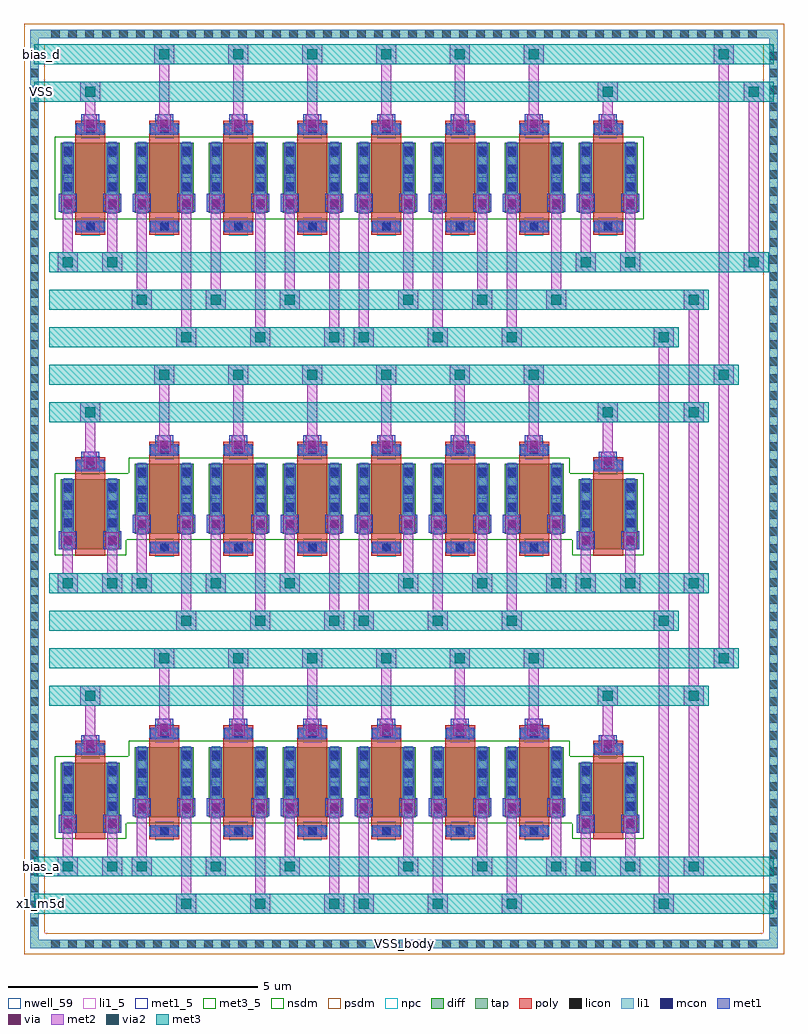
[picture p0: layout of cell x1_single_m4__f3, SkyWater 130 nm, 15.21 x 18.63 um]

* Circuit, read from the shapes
.subckt x1_single_m4__f3 VSS VSS_body bias_a bias_d x1_m5d
XM1 bias_a bias_a bias_a VSS_body sky130_fd_pr__nfet_01v8 w=1.4 l=0.6 m=4
XM2 VSS VSS VSS VSS_body sky130_fd_pr__nfet_01v8 w=1.4 l=0.6 m=2
XM3 x1_m5d bias_d bias_a VSS_body sky130_fd_pr__nfet_01v8 w=1.4 l=0.6 m=18
.ends

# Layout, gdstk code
from math import pi, radians
import gdstk
lib = gdstk.Library(unit=1e-6, precision=1e-09)
def R(c, l, rs):  # rectangles x0, y0, x1, y1
    for r in rs: c.add(gdstk.rectangle(r[:2], r[2:], *l))
def A(c, l, x, y, w, h, nx, ny, dx, dy):  # array of equal rectangles
    R(c, l, [(x+i*dx, y+j*dy, x+i*dx+w, y+j*dy+h) for i in range(nx) for j in range(ny)])
nwell_59 = (64, 59)
diff = (65, 20)
tap = (65, 44)
poly = (66, 20)
licon = (66, 44)
li1_5 = (67, 5)
li1 = (67, 20)
mcon = (67, 44)
met1_5 = (68, 5)
met1 = (68, 20)
via = (68, 44)
met2 = (69, 20)
via2 = (69, 44)
met3_5 = (70, 5)
met3 = (70, 20)
nsdm = (93, 44)
psdm = (94, 20)
npc = (95, 20)

sky130_fd_pr__nfet_01v8_ = lib.new_cell('sky130_fd_pr__nfet_01v8_KCM6UP')
R(sky130_fd_pr__nfet_01v8_, diff, [(-0.59,-0.7,0.59,0.7)])
R(sky130_fd_pr__nfet_01v8_, poly, [(-0.3,-1.14,0.3,1.14)])
A(sky130_fd_pr__nfet_01v8_, licon, -0.53, -0.595, 0.17, 0.17, 1, 4, 0, 0.34)
A(sky130_fd_pr__nfet_01v8_, licon, 0.36, -0.595, 0.17, 0.17, 1, 4, 0, 0.34)
R(sky130_fd_pr__nfet_01v8_, licon, [(-0.085,-1.06,0.085,-0.89), (-0.085,0.89,0.085,1.06)])
R(sky130_fd_pr__nfet_01v8_, li1, [(-0.3,-1.06,0.3,-0.89), (-0.53,-0.72,-0.36,0.72), (0.36,-0.72,0.53,0.72), (-0.3,0.89,0.3,1.06)])
A(sky130_fd_pr__nfet_01v8_, mcon, -0.53, -0.625, 0.17, 0.17, 1, 4, 0, 0.36)
A(sky130_fd_pr__nfet_01v8_, mcon, 0.36, -0.625, 0.17, 0.17, 1, 4, 0, 0.36)
R(sky130_fd_pr__nfet_01v8_, mcon, [(-0.085,-1.06,0.085,-0.89), (-0.085,0.89,0.085,1.06)])
R(sky130_fd_pr__nfet_01v8_, met1, [(-0.28,-1.09,0.28,-0.86), (-0.56,-0.7,-0.33,0.7), (0.33,-0.7,0.56,0.7), (-0.28,0.86,0.28,1.09)])
R(sky130_fd_pr__nfet_01v8_, nsdm, [(-0.715,-0.825,0.715,0.825)])
R(sky130_fd_pr__nfet_01v8_, npc, [(-0.185,-1.16,0.185,-0.79), (-0.185,0.79,0.185,1.16)])
sky130_fd_pr__nfet_01v8_.add(gdstk.Label('D', (-0.445,0), layer=67, texttype=5))
sky130_fd_pr__nfet_01v8_.add(gdstk.Label('S', (0.445,0), layer=67, texttype=5))
sky130_fd_pr__nfet_01v8_.add(gdstk.Label('G', (0,0.975), layer=67, texttype=5))

nfet_01v8_w1p4_l0p6_m18_ = lib.new_cell('nfet_01v8_W1p4_L0p6_m18__nf1_gboth_sdfull_ng')
R(nfet_01v8_w1p4_l0p6_m18_, nwell_59, [(0.05,1.09,0.15,1.19)])
R(nfet_01v8_w1p4_l0p6_m18_, met1_5, [(0.03,1.14,0.26,1.34), (0.92,1.14,1.15,1.34), (0.31,2,0.87,2.23)])
R(nfet_01v8_w1p4_l0p6_m18_, met1, [(0.03,1.14,0.26,1.34), (0.92,1.14,1.15,1.34), (0.31,2,0.87,2.23)])
nfet_01v8_w1p4_l0p6_m18_.add(gdstk.Reference(sky130_fd_pr__nfet_01v8_, (0.59,1.14)))
nfet_01v8_w1p4_l0p6_m18_.add(gdstk.Label('D', (0.145,1.24), layer=68, texttype=5))
nfet_01v8_w1p4_l0p6_m18_.add(gdstk.Label('S', (1.035,1.24), layer=68, texttype=5))
nfet_01v8_w1p4_l0p6_m18_.add(gdstk.Label('G', (0.59,2.115), layer=68, texttype=5))
nfet_01v8_w1p4_l0p6_m18_.add(gdstk.Label('B', (0.1,1.14), layer=64, texttype=59))

c_sky130_fd_pr__nfet_01v8_ = lib.new_cell('sky130_fd_pr__nfet_01v8_RUA5M6')
R(c_sky130_fd_pr__nfet_01v8_, diff, [(-0.59,-0.855,0.59,0.545)])
R(c_sky130_fd_pr__nfet_01v8_, poly, [(-0.3,-0.985,0.3,0.985)])
A(c_sky130_fd_pr__nfet_01v8_, licon, -0.53, -0.75, 0.17, 0.17, 1, 4, 0, 0.34)
A(c_sky130_fd_pr__nfet_01v8_, licon, 0.36, -0.75, 0.17, 0.17, 1, 4, 0, 0.34)
R(c_sky130_fd_pr__nfet_01v8_, licon, [(-0.085,0.735,0.085,0.905)])
R(c_sky130_fd_pr__nfet_01v8_, li1, [(-0.53,-0.875,-0.36,0.565), (0.36,-0.875,0.53,0.565), (-0.3,0.735,0.3,0.905)])
A(c_sky130_fd_pr__nfet_01v8_, mcon, -0.53, -0.78, 0.17, 0.17, 1, 4, 0, 0.36)
A(c_sky130_fd_pr__nfet_01v8_, mcon, 0.36, -0.78, 0.17, 0.17, 1, 4, 0, 0.36)
R(c_sky130_fd_pr__nfet_01v8_, mcon, [(-0.085,0.735,0.085,0.905)])
R(c_sky130_fd_pr__nfet_01v8_, met1, [(-0.56,-0.855,-0.33,0.545), (0.33,-0.855,0.56,0.545), (-0.28,0.705,0.28,0.935)])
R(c_sky130_fd_pr__nfet_01v8_, nsdm, [(-0.715,-0.98,0.715,0.67)])
R(c_sky130_fd_pr__nfet_01v8_, npc, [(-0.185,0.635,0.185,1.005)])
c_sky130_fd_pr__nfet_01v8_.add(gdstk.Label('D', (-0.445,-0.155), layer=67, texttype=5))
c_sky130_fd_pr__nfet_01v8_.add(gdstk.Label('S', (0.445,-0.155), layer=67, texttype=5))
c_sky130_fd_pr__nfet_01v8_.add(gdstk.Label('G', (0,0.82), layer=67, texttype=5))

nfet_01v8_w1p4_l0p6_m4__ = lib.new_cell('nfet_01v8_W1p4_L0p6_m4__nf1_gtop_sdfull_ng')
R(nfet_01v8_w1p4_l0p6_m4__, nwell_59, [(0.05,0.78,0.15,0.88)])
R(nfet_01v8_w1p4_l0p6_m4__, met1_5, [(0.03,0.83,0.26,1.03), (0.92,0.83,1.15,1.03), (0.31,1.69,0.87,1.92)])
R(nfet_01v8_w1p4_l0p6_m4__, met1, [(0.03,0.83,0.26,1.03), (0.92,0.83,1.15,1.03), (0.31,1.69,0.87,1.92)])
nfet_01v8_w1p4_l0p6_m4__.add(gdstk.Reference(c_sky130_fd_pr__nfet_01v8_, (0.59,0.985)))
nfet_01v8_w1p4_l0p6_m4__.add(gdstk.Label('D', (0.145,0.93), layer=68, texttype=5))
nfet_01v8_w1p4_l0p6_m4__.add(gdstk.Label('S', (1.035,0.93), layer=68, texttype=5))
nfet_01v8_w1p4_l0p6_m4__.add(gdstk.Label('G', (0.59,1.805), layer=68, texttype=5))
nfet_01v8_w1p4_l0p6_m4__.add(gdstk.Label('B', (0.1,0.83), layer=64, texttype=59))

x1_single_m4__f3 = lib.new_cell('x1_single_m4__f3')
R(x1_single_m4__f3, tap, [(-0.485,-2.185,14.475,-2.015), (-0.485,-2.015,-0.315,16.025), (14.305,-2.015,14.475,16.025), (-0.485,16.025,14.475,16.195)])
A(x1_single_m4__f3, licon, -0.06, -2.185, 0.17, 0.17, 42, 2, 0.34, 18.21)
A(x1_single_m4__f3, licon, -0.485, -1.75, 0.17, 0.17, 1, 52, 0, 0.34)
A(x1_single_m4__f3, licon, 14.305, -1.75, 0.17, 0.17, 1, 52, 0, 0.34)
R(x1_single_m4__f3, li1_5, [(6.945,-2.15,7.045,-2.05)])
R(x1_single_m4__f3, li1, [(-0.485,-2.185,14.475,-2.015), (-0.485,-2.015,-0.315,16.025), (14.305,-2.015,14.475,16.025), (-0.485,16.025,14.475,16.195)])
A(x1_single_m4__f3, met1, 2.015, 2.05, 0.36, 0.36, 6, 2, 1.48, 5.67)
A(x1_single_m4__f3, met1, 0.535, 14.14, 0.36, 0.36, 8, 1, 1.48, 0)
R(x1_single_m4__f3, met1, [(0.09,0.13,0.45,0.49), (0.98,0.13,1.34,0.49), (10.45,0.13,10.81,0.49), (11.34,0.13,11.7,0.49), (1.57,0.46,1.93,0.82), (2.46,0.46,2.82,0.82), (3.05,0.46,3.41,0.82), (3.94,0.46,4.3,0.82), (4.53,0.46,4.89,0.82), (5.42,0.46,5.78,0.82), (6.01,0.46,6.37,0.82), (6.9,0.46,7.26,0.82), (7.49,0.46,7.85,0.82), (8.38,0.46,8.74,0.82), (8.97,0.46,9.33,0.82), (9.86,0.46,10.22,0.82), (0.535,1.72,0.895,2.08), (10.895,1.72,11.255,2.08), (0.09,5.8,0.45,6.16), (0.98,5.8,1.34,6.16), (10.45,5.8,10.81,6.16), (11.34,5.8,11.7,6.16), (1.57,6.13,1.93,6.49), (2.46,6.13,2.82,6.49), (3.05,6.13,3.41,6.49), (3.94,6.13,4.3,6.49), (4.53,6.13,4.89,6.49), (5.42,6.13,5.78,6.49), (6.01,6.13,6.37,6.49), (6.9,6.13,7.26,6.49), (7.49,6.13,7.85,6.49), (8.38,6.13,8.74,6.49), (8.97,6.13,9.33,6.49), (9.86,6.13,10.22,6.49), (0.535,7.39,0.895,7.75), (10.895,7.39,11.255,7.75), (0.09,12.55,0.45,12.91), (0.98,12.55,1.34,12.91), (1.57,12.55,1.93,12.91), (2.46,12.55,2.82,12.91), (3.05,12.55,3.41,12.91), (3.94,12.55,4.3,12.91), (4.53,12.55,4.89,12.91), (5.42,12.55,5.78,12.91), (6.01,12.55,6.37,12.91), (6.9,12.55,7.26,12.91), (7.49,12.55,7.85,12.91), (8.38,12.55,8.74,12.91), (8.97,12.55,9.33,12.91), (9.86,12.55,10.22,12.91), (10.45,12.55,10.81,12.91), (11.34,12.55,11.7,12.91)])
A(x1_single_m4__f3, via, 2.12, 2.155, 0.15, 0.15, 6, 2, 1.48, 5.67)
A(x1_single_m4__f3, via, 0.64, 14.245, 0.15, 0.15, 8, 1, 1.48, 0)
R(x1_single_m4__f3, via, [(0.195,0.235,0.345,0.385), (1.085,0.235,1.235,0.385), (10.555,0.235,10.705,0.385), (11.445,0.235,11.595,0.385), (1.675,0.565,1.825,0.715), (2.565,0.565,2.715,0.715), (3.155,0.565,3.305,0.715), (4.045,0.565,4.195,0.715), (4.635,0.565,4.785,0.715), (5.525,0.565,5.675,0.715), (6.115,0.565,6.265,0.715), (7.005,0.565,7.155,0.715), (7.595,0.565,7.745,0.715), (8.485,0.565,8.635,0.715), (9.075,0.565,9.225,0.715), (9.965,0.565,10.115,0.715), (0.64,1.825,0.79,1.975), (11,1.825,11.15,1.975), (0.195,5.905,0.345,6.055), (1.085,5.905,1.235,6.055), (10.555,5.905,10.705,6.055), (11.445,5.905,11.595,6.055), (1.675,6.235,1.825,6.385), (2.565,6.235,2.715,6.385), (3.155,6.235,3.305,6.385), (4.045,6.235,4.195,6.385), (4.635,6.235,4.785,6.385), (5.525,6.235,5.675,6.385), (6.115,6.235,6.265,6.385), (7.005,6.235,7.155,6.385), (7.595,6.235,7.745,6.385), (8.485,6.235,8.635,6.385), (9.075,6.235,9.225,6.385), (9.965,6.235,10.115,6.385), (0.64,7.495,0.79,7.645), (11,7.495,11.15,7.645), (0.195,12.655,0.345,12.805), (1.085,12.655,1.235,12.805), (1.675,12.655,1.825,12.805), (2.565,12.655,2.715,12.805), (3.155,12.655,3.305,12.805), (4.045,12.655,4.195,12.805), (4.635,12.655,4.785,12.805), (5.525,12.655,5.675,12.805), (6.115,12.655,6.265,12.805), (7.005,12.655,7.155,12.805), (7.595,12.655,7.745,12.805), (8.485,12.655,8.635,12.805), (9.075,12.655,9.225,12.805), (9.965,12.655,10.115,12.805), (10.555,12.655,10.705,12.805), (11.445,12.655,11.595,12.805)])
A(x1_single_m4__f3, met2, 2.44, -1.5, 0.4, 0.4, 3, 3, 1.48, 5.67)
A(x1_single_m4__f3, met2, 5.99, -1.5, 0.4, 0.4, 3, 3, 1.48, 5.67)
A(x1_single_m4__f3, met2, 11.99, -1.5, 0.4, 0.4, 1, 3, 0, 5.67)
A(x1_single_m4__f3, met2, 2.54, -1.1, 0.2, 1.58, 3, 2, 1.48, 5.67)
A(x1_single_m4__f3, met2, 6.09, -1.1, 0.2, 1.58, 3, 2, 1.48, 5.67)
A(x1_single_m4__f3, met2, 1.55, -0.75, 0.4, 0.4, 3, 3, 1.48, 5.67)
A(x1_single_m4__f3, met2, 6.88, -0.75, 0.4, 0.4, 3, 3, 1.48, 5.67)
A(x1_single_m4__f3, met2, 1.65, -0.35, 0.2, 0.83, 3, 2, 1.48, 5.67)
A(x1_single_m4__f3, met2, 6.98, -0.35, 0.2, 0.83, 3, 2, 1.48, 5.67)
A(x1_single_m4__f3, met2, 2.065, 2.07, 0.26, 0.32, 6, 2, 1.48, 5.67)
A(x1_single_m4__f3, met2, 2.095, 2.39, 0.2, 1.03, 6, 2, 1.48, 5.67)
A(x1_single_m4__f3, met2, 1.995, 3.42, 0.4, 0.4, 6, 2, 1.48, 5.67)
A(x1_single_m4__f3, met2, 2.54, 10.24, 0.2, 2.33, 3, 1, 1.48, 0)
A(x1_single_m4__f3, met2, 6.09, 10.24, 0.2, 2.33, 3, 1, 1.48, 0)
A(x1_single_m4__f3, met2, 1.65, 10.99, 0.2, 1.58, 3, 1, 1.48, 0)
A(x1_single_m4__f3, met2, 6.98, 10.99, 0.2, 1.58, 3, 1, 1.48, 0)
A(x1_single_m4__f3, met2, 0.585, 14.16, 0.26, 0.32, 8, 1, 1.48, 0)
A(x1_single_m4__f3, met2, 2.095, 14.48, 0.2, 1.03, 6, 1, 1.48, 0)
A(x1_single_m4__f3, met2, 1.995, 15.51, 0.4, 0.4, 6, 1, 1.48, 0)
R(x1_single_m4__f3, met2, [(12.09,-1.1,12.29,4.17), (0.07,-0.75,0.47,-0.35), (0.96,-0.75,1.36,-0.35), (10.43,-0.75,10.83,-0.35), (11.32,-0.75,11.72,-0.35), (12.59,-0.75,12.99,-0.35), (0.17,-0.35,0.37,0.15), (1.06,-0.35,1.26,0.15), (10.53,-0.35,10.73,0.15), (11.42,-0.35,11.62,0.15), (12.69,-0.35,12.89,2.67), (0.14,0.15,0.4,0.47), (1.03,0.15,1.29,0.47), (10.5,0.15,10.76,0.47), (11.39,0.15,11.65,0.47), (1.62,0.48,1.88,0.8), (2.51,0.48,2.77,0.8), (3.1,0.48,3.36,0.8), (3.99,0.48,4.25,0.8), (4.58,0.48,4.84,0.8), (5.47,0.48,5.73,0.8), (6.06,0.48,6.32,0.8), (6.95,0.48,7.21,0.8), (7.54,0.48,7.8,0.8), (8.43,0.48,8.69,0.8), (9.02,0.48,9.28,0.8), (9.91,0.48,10.17,0.8), (0.585,1.74,0.845,2.06), (10.945,1.74,11.205,2.06), (0.615,2.06,0.815,2.67), (10.975,2.06,11.175,2.67), (0.515,2.67,0.915,3.07), (10.875,2.67,11.275,3.07), (12.59,2.67,12.99,3.07), (12.69,3.07,12.89,4.92), (13.19,3.42,13.59,3.82), (13.29,3.82,13.49,9.09), (12.09,4.57,12.29,9.84), (0.07,4.92,0.47,5.32), (0.96,4.92,1.36,5.32), (10.43,4.92,10.83,5.32), (11.32,4.92,11.72,5.32), (12.59,4.92,12.99,5.32), (0.17,5.32,0.37,5.82), (1.06,5.32,1.26,5.82), (10.53,5.32,10.73,5.82), (11.42,5.32,11.62,5.82), (12.69,5.32,12.89,8.34), (0.14,5.82,0.4,6.14), (1.03,5.82,1.29,6.14), (10.5,5.82,10.76,6.14), (11.39,5.82,11.65,6.14), (1.62,6.15,1.88,6.47), (2.51,6.15,2.77,6.47), (3.1,6.15,3.36,6.47), (3.99,6.15,4.25,6.47), (4.58,6.15,4.84,6.47), (5.47,6.15,5.73,6.47), (6.06,6.15,6.32,6.47), (6.95,6.15,7.21,6.47), (7.54,6.15,7.8,6.47), (8.43,6.15,8.69,6.47), (9.02,6.15,9.28,6.47), (9.91,6.15,10.17,6.47), (0.585,7.41,0.845,7.73), (10.945,7.41,11.205,7.73), (0.615,7.73,0.815,8.34), (10.975,7.73,11.175,8.34), (0.515,8.34,0.915,8.74), (10.875,8.34,11.275,8.74), (12.59,8.34,12.99,8.74), (12.69,8.74,12.89,10.59), (13.19,9.09,13.59,9.49), (13.29,9.49,13.49,15.51), (12.59,10.59,12.99,10.99), (0.07,11.34,0.47,11.74), (0.96,11.34,1.36,11.74), (10.43,11.34,10.83,11.74), (11.32,11.34,11.72,11.74), (13.79,11.34,14.19,11.74), (0.17,11.74,0.37,12.57), (1.06,11.74,1.26,12.57), (10.53,11.74,10.73,12.57), (11.42,11.74,11.62,12.57), (13.89,11.74,14.09,14.76), (0.14,12.57,0.4,12.89), (1.03,12.57,1.29,12.89), (1.62,12.57,1.88,12.89), (2.51,12.57,2.77,12.89), (3.1,12.57,3.36,12.89), (3.99,12.57,4.25,12.89), (4.58,12.57,4.84,12.89), (5.47,12.57,5.73,12.89), (6.06,12.57,6.32,12.89), (6.95,12.57,7.21,12.89), (7.54,12.57,7.8,12.89), (8.43,12.57,8.69,12.89), (9.02,12.57,9.28,12.89), (9.91,12.57,10.17,12.89), (10.5,12.57,10.76,12.89), (11.39,12.57,11.65,12.89), (0.615,14.48,0.815,14.76), (10.975,14.48,11.175,14.76), (0.515,14.76,0.915,15.16), (10.875,14.76,11.275,15.16), (13.79,14.76,14.19,15.16), (13.19,15.51,13.59,15.91)])
A(x1_single_m4__f3, via2, 2.54, -1.4, 0.2, 0.2, 3, 3, 1.48, 5.67)
A(x1_single_m4__f3, via2, 6.09, -1.4, 0.2, 0.2, 3, 3, 1.48, 5.67)
A(x1_single_m4__f3, via2, 12.09, -1.4, 0.2, 0.2, 1, 3, 0, 5.67)
A(x1_single_m4__f3, via2, 1.65, -0.65, 0.2, 0.2, 3, 3, 1.48, 5.67)
A(x1_single_m4__f3, via2, 6.98, -0.65, 0.2, 0.2, 3, 3, 1.48, 5.67)
A(x1_single_m4__f3, via2, 2.095, 3.52, 0.2, 0.2, 6, 2, 1.48, 5.67)
A(x1_single_m4__f3, via2, 2.095, 15.61, 0.2, 0.2, 6, 1, 1.48, 0)
R(x1_single_m4__f3, via2, [(0.17,-0.65,0.37,-0.45), (1.06,-0.65,1.26,-0.45), (10.53,-0.65,10.73,-0.45), (11.42,-0.65,11.62,-0.45), (12.69,-0.65,12.89,-0.45), (0.615,2.77,0.815,2.97), (10.975,2.77,11.175,2.97), (12.69,2.77,12.89,2.97), (13.29,3.52,13.49,3.72), (0.17,5.02,0.37,5.22), (1.06,5.02,1.26,5.22), (10.53,5.02,10.73,5.22), (11.42,5.02,11.62,5.22), (12.69,5.02,12.89,5.22), (0.615,8.44,0.815,8.64), (10.975,8.44,11.175,8.64), (12.69,8.44,12.89,8.64), (13.29,9.19,13.49,9.39), (12.69,10.69,12.89,10.89), (0.17,11.44,0.37,11.64), (1.06,11.44,1.26,11.64), (10.53,11.44,10.73,11.64), (11.42,11.44,11.62,11.64), (13.89,11.44,14.09,11.64), (0.615,14.86,0.815,15.06), (10.975,14.86,11.175,15.06), (13.89,14.86,14.09,15.06), (13.29,15.61,13.49,15.81)])
R(x1_single_m4__f3, met3_5, [(-0.3,-1.35,-0.2,-1.25), (-0.3,-0.6,-0.2,-0.5), (-0.3,14.91,-0.2,15.01), (-0.3,15.66,-0.2,15.76)])
R(x1_single_m4__f3, met3, [(-0.4,-1.5,14.39,-1.1), (-0.4,-0.75,14.39,-0.35), (-0.1,2.67,13.09,3.07), (-0.1,3.42,13.69,3.82), (-0.1,4.17,12.49,4.57), (-0.1,4.92,13.09,5.32), (-0.1,8.34,13.09,8.74), (-0.1,9.09,13.69,9.49), (-0.1,9.84,12.49,10.24), (-0.1,10.59,13.09,10.99), (-0.1,11.34,14.29,11.74), (-0.4,14.76,14.39,15.16), (-0.4,15.51,14.39,15.91)])
A(x1_single_m4__f3, nsdm, 2.915, 0.315, 0.05, 1.65, 5, 2, 1.48, 5.67)
A(x1_single_m4__f3, nsdm, 1.435, 12.405, 0.05, 1.65, 7, 1, 1.48, 0)
R(x1_single_m4__f3, nsdm, [(1.435,0.315,1.485,1.655), (10.315,0.315,10.365,1.655), (1.435,5.985,1.485,7.325), (10.315,5.985,10.365,7.325)])
R(x1_single_m4__f3, psdm, [(-0.61,-2.31,14.6,-1.89), (-0.61,-1.89,-0.19,15.9), (14.18,-1.89,14.6,15.9), (-0.61,15.9,14.6,16.32)])
x1_single_m4__f3.add(gdstk.Reference(nfet_01v8_w1p4_l0p6_m18_, (11.67,12.09), rotation=pi, x_reflection=True))
x1_single_m4__f3.add(gdstk.Reference(nfet_01v8_w1p4_l0p6_m18_, (10.19,12.09), rotation=pi, x_reflection=True))
x1_single_m4__f3.add(gdstk.Reference(nfet_01v8_w1p4_l0p6_m18_, (8.71,12.09), rotation=pi, x_reflection=True))
x1_single_m4__f3.add(gdstk.Reference(nfet_01v8_w1p4_l0p6_m18_, (7.23,12.09), rotation=pi, x_reflection=True))
x1_single_m4__f3.add(gdstk.Reference(nfet_01v8_w1p4_l0p6_m18_, (4.57,12.09)))
x1_single_m4__f3.add(gdstk.Reference(nfet_01v8_w1p4_l0p6_m18_, (3.09,12.09)))
x1_single_m4__f3.add(gdstk.Reference(nfet_01v8_w1p4_l0p6_m18_, (1.61,12.09)))
x1_single_m4__f3.add(gdstk.Reference(nfet_01v8_w1p4_l0p6_m18_, (0.13,12.09)))
x1_single_m4__f3.add(gdstk.Reference(nfet_01v8_w1p4_l0p6_m4__, (10.49,5.67)))
x1_single_m4__f3.add(gdstk.Reference(nfet_01v8_w1p4_l0p6_m18_, (10.19,5.67), rotation=pi, x_reflection=True))
x1_single_m4__f3.add(gdstk.Reference(nfet_01v8_w1p4_l0p6_m18_, (8.71,5.67), rotation=pi, x_reflection=True))
x1_single_m4__f3.add(gdstk.Reference(nfet_01v8_w1p4_l0p6_m18_, (7.23,5.67), rotation=pi, x_reflection=True))
x1_single_m4__f3.add(gdstk.Reference(nfet_01v8_w1p4_l0p6_m18_, (4.57,5.67)))
x1_single_m4__f3.add(gdstk.Reference(nfet_01v8_w1p4_l0p6_m18_, (3.09,5.67)))
x1_single_m4__f3.add(gdstk.Reference(nfet_01v8_w1p4_l0p6_m18_, (1.61,5.67)))
x1_single_m4__f3.add(gdstk.Reference(nfet_01v8_w1p4_l0p6_m4__, (0.13,5.67)))
x1_single_m4__f3.add(gdstk.Reference(nfet_01v8_w1p4_l0p6_m4__, (10.49,0)))
x1_single_m4__f3.add(gdstk.Reference(nfet_01v8_w1p4_l0p6_m18_, (10.19,0), rotation=pi, x_reflection=True))
x1_single_m4__f3.add(gdstk.Reference(nfet_01v8_w1p4_l0p6_m18_, (8.71,0), rotation=pi, x_reflection=True))
x1_single_m4__f3.add(gdstk.Reference(nfet_01v8_w1p4_l0p6_m18_, (7.23,0), rotation=pi, x_reflection=True))
x1_single_m4__f3.add(gdstk.Reference(nfet_01v8_w1p4_l0p6_m18_, (4.57,0)))
x1_single_m4__f3.add(gdstk.Reference(nfet_01v8_w1p4_l0p6_m18_, (3.09,0)))
x1_single_m4__f3.add(gdstk.Reference(nfet_01v8_w1p4_l0p6_m18_, (1.61,0)))
x1_single_m4__f3.add(gdstk.Reference(nfet_01v8_w1p4_l0p6_m4__, (0.13,0)))
x1_single_m4__f3.add(gdstk.Label('VSS', (-0.25,14.96), layer=70, texttype=5))
x1_single_m4__f3.add(gdstk.Label('bias_d', (-0.25,15.71), layer=70, texttype=5))
x1_single_m4__f3.add(gdstk.Label('bias_a', (-0.25,-0.55), layer=70, texttype=5))
x1_single_m4__f3.add(gdstk.Label('x1_m5d', (-0.25,-1.3), layer=70, texttype=5))
x1_single_m4__f3.add(gdstk.Label('VSS_body', (6.995,-2.1), layer=67, texttype=5))

lib.write_gds('x1_single_m4__f3.gds')
